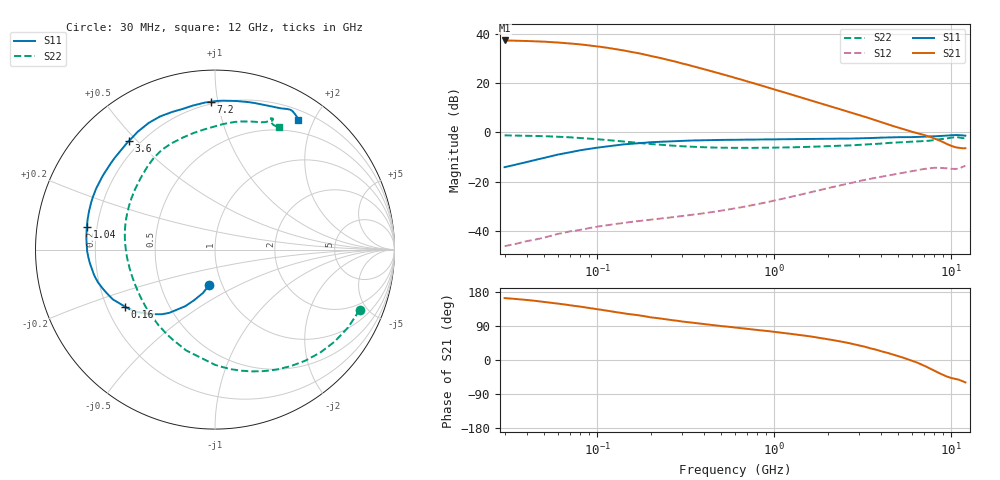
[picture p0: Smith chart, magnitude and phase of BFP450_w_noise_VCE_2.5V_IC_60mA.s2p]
! (c) 2015  Infineon Technologies AG, Munich
! Infineon Technologies  Discrete & RF Semiconductors
! BFP450
! VCE =  2.5 V,  IC =  60 mA
! Common Emitter S-Parameters:  Nov 2015
# GHz  S  MA  R  50
!  f  S11  S21  S12  S22
! GHz  MAG  ANG  MAG  ANG  MAG  ANG  MAG  ANG
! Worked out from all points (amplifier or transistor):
!   239 points, 30 MHz to 12 GHz, reference 50 ohm
!   highest |S21| = 37.4 dB at 30 MHz (marker M1)
!   |S21| within 3 dB of that: start of sweep to 114.5 MHz
!   unconditionally stable (mu >= 1): 1.09 GHz to end of sweep
!   at 300 MHz: K = 0.59, MSG = 31.0 dB, |S12| = -34.0 dB
!   at 1.88 GHz: K = 1.09, MAG = 15.5 dB, |S12| = -23.1 dB
!   at 12 GHz: K = 1.09, MAG = 1.8 dB, |S12| = -13.5 dB
!   lowest NFmin = 1.69 dB at 450 MHz
!   S11 on the Smith chart (normalised r, x): 30 MHz: 0.87, -0.35; 160 MHz: 0.28, -0.27; 1.04 GHz: 0.16, +0.09; 3.6 GHz: 0.16, +0.47; 7.2 GHz: 0.19, +0.96; 12 GHz: 0.32, +1.79
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0.03  0.197 -99.0  73.87 163.4  0.0049 79.4  0.8729 -22.7
0.04  0.2511 -105.5  72.02 158.4  0.0062 75.0  0.8591 -30.3
0.05  0.3055 -112.5  69.82 153.3  0.0073 70.8  0.8409 -37.6
0.06  0.3552 -117.6  67.08 149.0  0.0087 67.9  0.8203 -44.4
0.07  0.3945 -122.1  64.24 144.5  0.0098 66.4  0.7977 -50.9
0.085  0.4495 -127.6  60.06 139.1  0.0109 61.8  0.7622 -59.8
0.11  0.5134 -135.8  53.46 131.1  0.0128 57.0  0.7096 -73.0
0.13  0.5537 -141.0  48.64 125.8  0.014 54.5  0.6732 -82.1
0.16  0.5929 -147.5  42.62 119.8  0.0154 51.6  0.6269 -92.9
0.2  0.6337 -154.1  35.83 112.6  0.0169 49.4  0.5845 -105.9
0.24  0.6537 -158.9  31.02 107.9  0.0182 48.8  0.5536 -115.3
0.3  0.6776 -164.5  25.33 101.7  0.02 48.9  0.5251 -127.0
0.36  0.6893 -168.6  21.41 97.4  0.0217 49.6  0.508 -135.6
0.45  0.7003 -173.4  17.18 92.0  0.0242 51.0  0.4943 -145.5
0.6  0.7122 -179.1  12.83 85.6  0.0287 53.1  0.4864 -156.8
0.8  0.7192 175.2  9.483 79.2  0.0349 54.9  0.4867 -166.9
1.04  0.7248 169.9  7.175 73.4  0.0426 55.5  0.4925 -175.5
1.64  0.7388 158.7  4.382 61.5  0.0622 52.9  0.5119 169.0
3.6  0.772 128.4  1.842 29.3  0.1173 32.4  0.5784 134.7
4.5  0.7966 117.6  1.413 16.7  0.1356 23.3  0.6144 123.7
7.2  0.8241 91.5  0.863 -17.4  0.1835 -4.6  0.6712 95.5
12  0.8599 57.3  0.478 -59.1  0.2106 -41.0  0.7679 62.5
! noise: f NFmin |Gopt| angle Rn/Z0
0.45  1.69  0.56  -173  0.06
0.9  1.74  0.58  -167  0.07
1.9  1.84  0.62  -151  0.12
2.4  1.92  0.62  -143  0.16
